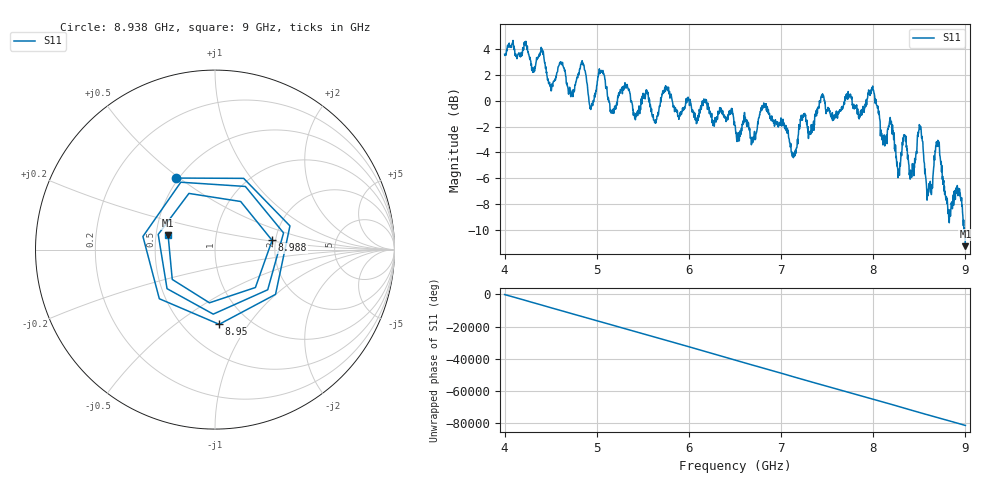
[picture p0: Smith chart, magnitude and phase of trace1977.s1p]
! Created with skrf 1.8.0 (http://scikit-rf.org).
# Hz S RI R 50.0
!freq ReS11 ImS11
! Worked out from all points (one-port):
!   1601 points, 4 GHz to 9 GHz, reference 50 ohm
!   lowest |S11| = -11.3 dB at 9 GHz (marker M1), VSWR 1.75, Z = 29 + j4.98 ohm
!   |S11| at or under -10 dB: 8.983054 GHz to 8.986712 GHz (3.658 MHz wide, 0.0407 % of centre); 8.989331 GHz to end of sweep
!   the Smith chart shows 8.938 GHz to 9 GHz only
!   S11 on the Smith chart (normalised r, x): 8.938 GHz: 0.48, +0.49; 8.95 GHz: 0.73, -0.74; 8.988 GHz: 1.92, +0.22; 9 GHz: 0.58, +0.10
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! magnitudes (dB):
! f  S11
! 4 GHz  3.6
! 4.5 GHz  1.2
! 4.625 GHz  2.8
! 4.719 GHz  0.3
! 4.85 GHz  2.9
! 4.941 GHz  -0.4
! 5.044 GHz  2.3
! 5.162 GHz  -0.8
! 5.25 GHz  0.7
! 5.875 GHz  -0.8
! 6.5 GHz  -1.9
! 6.7 GHz  -2.8
! 6.828 GHz  -0.5
! 7.125 GHz  -4.2
! 7.441 GHz  0.4
! 7.75 GHz  0.5
! 7.991 GHz  1.0
! 8.272 GHz  -5.6
! 8.375 GHz  -4.2
! 8.422 GHz  -5.6
! 8.506 GHz  -2.1
! 8.597 GHz  -7.0
! 8.694 GHz  -3.2
! 8.812 GHz  -8.8
! 8.938 GHz  -6.9
! 8.95 GHz  -7.6
! 8.988 GHz  -9.8
! 9 GHz  -11.3
